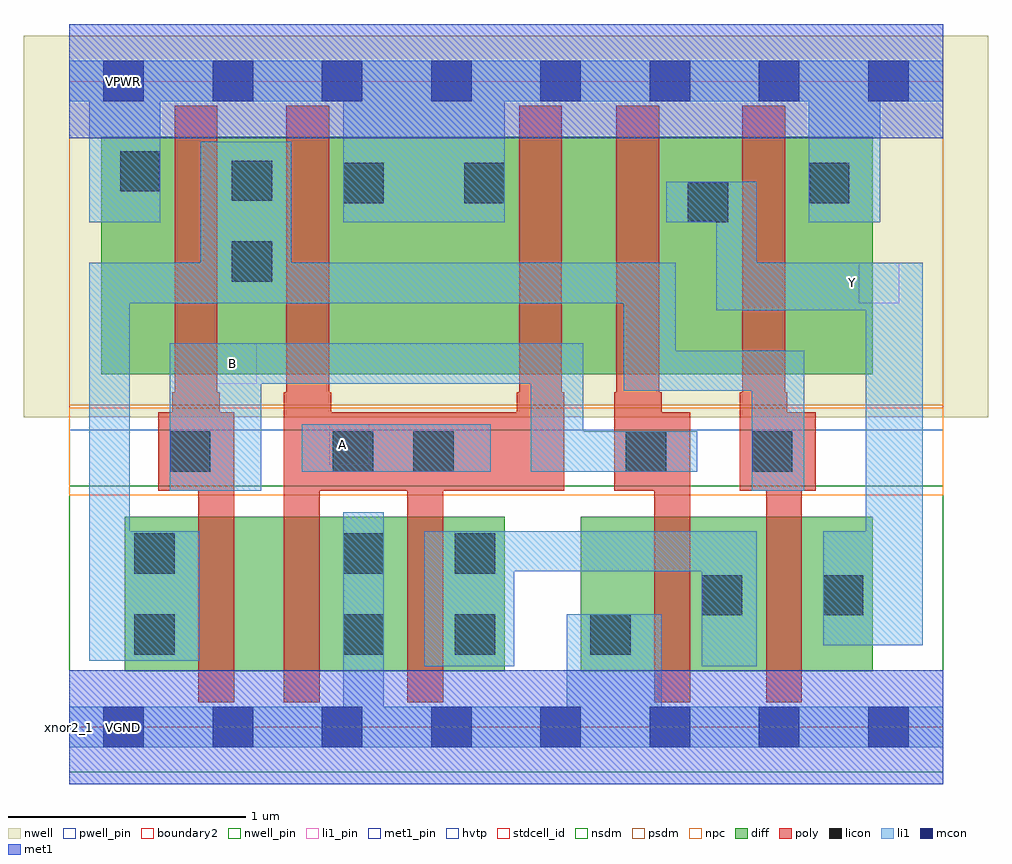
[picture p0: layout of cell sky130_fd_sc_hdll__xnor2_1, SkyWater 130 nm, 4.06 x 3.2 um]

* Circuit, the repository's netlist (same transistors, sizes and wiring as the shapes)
* Copyright 2020 The SkyWater PDK Authors
*
* Licensed under the Apache License, Version 2.0 (the "License");
* you may not use this file except in compliance with the License.
* You may obtain a copy of the License at
*
*     https://www.apache.org/licenses/LICENSE-2.0
*
* Unless required by applicable law or agreed to in writing, software
* distributed under the License is distributed on an "AS IS" BASIS,
* WITHOUT WARRANTIES OR CONDITIONS OF ANY KIND, either express or implied.
* See the License for the specific language governing permissions and
* limitations under the License.
*
* SPDX-License-Identifier: Apache-2.0

.SUBCKT sky130_fd_sc_hdll__xnor2_1 A B VGND VNB VPB VPWR Y
*.PININFO A:I B:I VGND:I VNB:I VPB:I VPWR:I Y:O
MMNnand0 VGND A sndNA VNB sky130_fd_pr__nfet_01v8 m=1 w=0.65U l=0.15U mult=1 sa=0.265
+ sb=0.265 sd=0.28 area=0.063 perim=1.14
MMNnand1 sndNA B inand VNB sky130_fd_pr__nfet_01v8 m=1 w=0.65U l=0.15U mult=1 sa=0.265
+ sb=0.265 sd=0.28 area=0.063 perim=1.14
MMNaoi10 nmid A VGND VNB sky130_fd_pr__nfet_01v8 m=1 w=0.65U l=0.15U mult=1 sa=0.265
+ sb=0.265 sd=0.28 area=0.063 perim=1.14
MMNaoi11 nmid B VGND VNB sky130_fd_pr__nfet_01v8 m=1 w=0.65U l=0.15U mult=1 sa=0.265
+ sb=0.265 sd=0.28 area=0.063 perim=1.14
MMNaoi20 Y inand nmid VNB sky130_fd_pr__nfet_01v8 m=1 w=0.65U l=0.15U mult=1 sa=0.265
+ sb=0.265 sd=0.28 area=0.063 perim=1.14
MMPnand0 inand A VPWR VPB sky130_fd_pr__pfet_01v8_hvt m=1 w=1.0U l=0.18U mult=1
+ sa=0.265 sb=0.265 sd=0.28 area=0.063 perim=1.14
MMPnand1 inand B VPWR VPB sky130_fd_pr__pfet_01v8_hvt m=1 w=1.0U l=0.18U mult=1
+ sa=0.265 sb=0.265 sd=0.28 area=0.063 perim=1.14
MMPaoi10 VPWR A sndPA VPB sky130_fd_pr__pfet_01v8_hvt m=1 w=1.0U l=0.18U mult=1
+ sa=0.265 sb=0.265 sd=0.28 area=0.063 perim=1.14
MMPaoi11 sndPA B Y VPB sky130_fd_pr__pfet_01v8_hvt m=1 w=1.0U l=0.18U mult=1 sa=0.265
+ sb=0.265 sd=0.28 area=0.063 perim=1.14
MMPaoi20 Y inand VPWR VPB sky130_fd_pr__pfet_01v8_hvt m=1 w=1.0U l=0.18U mult=1
+ sa=0.265 sb=0.265 sd=0.28 area=0.063 perim=1.14
.ENDS sky130_fd_sc_hdll__xnor2_1

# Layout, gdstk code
import gdstk
lib = gdstk.Library(unit=1e-6, precision=1e-09)
def R(c, l, rs):  # rectangles x0, y0, x1, y1
    for r in rs: c.add(gdstk.rectangle(r[:2], r[2:], *l))
def A(c, l, x, y, w, h, nx, ny, dx, dy):  # array of equal rectangles
    R(c, l, [(x+i*dx, y+j*dy, x+i*dx+w, y+j*dy+h) for i in range(nx) for j in range(ny)])
def P(c, l, *ps):  # polygons
    for p in ps: c.add(gdstk.Polygon(p, *l))
nwell_pin = (64, 16)
nwell = (64, 20)
diff = (65, 20)
poly = (66, 20)
licon = (66, 44)
li1_pin = (67, 16)
li1 = (67, 20)
mcon = (67, 44)
met1_pin = (68, 16)
met1 = (68, 20)
hvtp = (78, 44)
stdcell_id = (81, 4)
nsdm = (93, 44)
psdm = (94, 20)
npc = (95, 20)
pwell_pin = (122, 16)
boundary2 = (236, 0)

sky130_fd_sc_hdll__xnor2 = lib.new_cell('sky130_fd_sc_hdll__xnor2_1')
R(sky130_fd_sc_hdll__xnor2, nwell_pin, [(0.145,2.635,0.315,2.805)])
R(sky130_fd_sc_hdll__xnor2, nwell, [(-0.19,1.305,3.87,2.91)])
R(sky130_fd_sc_hdll__xnor2, diff, [(0.235,0.235,1.835,0.885), (2.155,0.235,3.385,0.885), (0.135,1.485,3.385,2.485)])
P(sky130_fd_sc_hdll__xnor2, poly, [(0.695,1.325),(0.635,1.325),(0.635,1.41),(0.625,1.41),(0.625,2.615),(0.445,2.615),(0.445,1.41),(0.435,1.41),(0.435,1.325),(0.375,1.325),(0.375,0.995),(0.545,0.995),(0.545,0.105),(0.695,0.105)],
  [(2.085,1.41),(2.075,1.41),(2.075,2.615),(1.895,2.615),(1.895,1.41),(1.885,1.41),(1.885,1.325),(1.105,1.325),(1.105,1.41),(1.095,1.41),(1.095,2.615),(0.915,2.615),(0.915,1.41),(0.905,1.41),(0.905,0.105),(1.055,0.105),(1.055,0.995),(1.425,0.995),(1.425,0.105),(1.575,0.105),(1.575,0.995),(2.085,0.995)],
  [(2.615,1.325),(2.495,1.325),(2.495,1.41),(2.485,1.41),(2.485,2.615),(2.305,2.615),(2.305,1.41),(2.295,1.41),(2.295,0.995),(2.465,0.995),(2.465,0.105),(2.615,0.105)],
  [(3.145,1.325),(3.025,1.325),(3.025,1.41),(3.015,1.41),(3.015,2.615),(2.835,2.615),(2.835,1.41),(2.825,1.41),(2.825,0.995),(2.935,0.995),(2.935,0.105),(3.085,0.105),(3.085,0.995),(3.145,0.995)])
R(sky130_fd_sc_hdll__xnor2, licon, [(0.275,0.305,0.445,0.475), (1.155,0.305,1.325,0.475), (1.625,0.305,1.795,0.475), (2.195,0.305,2.365,0.475), (2.665,0.47,2.835,0.64), (3.175,0.47,3.345,0.64), (0.275,0.645,0.445,0.815), (1.155,0.645,1.325,0.815), (1.625,0.645,1.795,0.815), (0.425,1.075,0.595,1.245), (1.11,1.075,1.28,1.245), (1.45,1.075,1.62,1.245), (2.345,1.075,2.515,1.245), (2.875,1.075,3.045,1.245), (0.685,1.875,0.855,2.045), (2.605,2.125,2.775,2.295), (1.155,2.205,1.325,2.375), (1.665,2.205,1.835,2.375), (3.115,2.205,3.285,2.375), (0.685,2.215,0.855,2.385), (0.215,2.255,0.385,2.425)])
R(sky130_fd_sc_hdll__xnor2, li1_pin, [(1.095,1.105,1.265,1.275), (0.62,1.445,0.79,1.615), (3.325,1.785,3.495,1.955)])
R(sky130_fd_sc_hdll__xnor2, li1, [(0.98,1.075,1.775,1.275)])
P(sky130_fd_sc_hdll__xnor2, li1, [(3.595,1.955),(2.895,1.955),(2.895,2.295),(2.515,2.295),(2.515,2.125),(2.725,2.125),(2.725,1.755),(3.355,1.755),(3.355,0.825),(3.175,0.825),(3.175,0.345),(3.595,0.345)],
  [(3.095,1.585),(2.555,1.585),(2.555,1.955),(0.935,1.955),(0.935,2.465),(0.555,2.465),(0.555,1.955),(0.085,1.955),(0.085,0.28),(0.55,0.28),(0.55,0.825),(0.255,0.825),(0.255,1.785),(2.335,1.785),(2.335,1.415),(2.875,1.415),(2.875,0.995),(3.095,0.995)],
  [(2.895,0.825),(1.495,0.825),(1.495,0.255),(1.875,0.255),(1.875,0.655),(2.665,0.655),(2.665,0.255),(2.895,0.255)],
  [(2.645,1.245),(2.165,1.245),(2.165,1.615),(0.425,1.615),(0.425,0.995),(0.81,0.995),(0.81,1.445),(1.945,1.445),(1.945,1.075),(2.645,1.075)],
  [(3.68,2.805),(0,2.805),(0,2.635),(0.085,2.635),(0.085,2.125),(0.385,2.125),(0.385,2.635),(1.155,2.635),(1.155,2.125),(1.835,2.125),(1.835,2.635),(3.115,2.635),(3.115,2.125),(3.415,2.125),(3.415,2.635),(3.68,2.635)],
  [(3.68,0.085),(2.495,0.085),(2.495,0.475),(2.095,0.475),(2.095,0.085),(1.325,0.085),(1.325,0.905),(1.155,0.905),(1.155,0.085),(0,0.085),(0,-0.085),(3.68,-0.085)])
A(sky130_fd_sc_hdll__xnor2, mcon, 0.145, -0.085, 0.17, 0.17, 8, 2, 0.46, 2.72)
R(sky130_fd_sc_hdll__xnor2, met1_pin, [(0.145,-0.085,0.315,0.085), (0.145,2.635,0.315,2.805)])
R(sky130_fd_sc_hdll__xnor2, met1, [(0,-0.24,3.68,0.24), (0,2.48,3.68,2.96)])
R(sky130_fd_sc_hdll__xnor2, hvtp, [(0,1.25,3.68,2.72)])
R(sky130_fd_sc_hdll__xnor2, stdcell_id, [(0,0,3.68,2.72)])
R(sky130_fd_sc_hdll__xnor2, nsdm, [(0,-0.19,3.68,1.015)])
R(sky130_fd_sc_hdll__xnor2, psdm, [(0,1.355,3.68,2.91)])
R(sky130_fd_sc_hdll__xnor2, npc, [(0,0.975,3.68,1.345)])
R(sky130_fd_sc_hdll__xnor2, pwell_pin, [(0.145,-0.085,0.315,0.085)])
R(sky130_fd_sc_hdll__xnor2, boundary2, [(0,0,3.68,2.72)])
sky130_fd_sc_hdll__xnor2.add(gdstk.Label('VGND', (0.23,0), layer=68, texttype=5))
sky130_fd_sc_hdll__xnor2.add(gdstk.Label('VPWR', (0.23,2.72), layer=68, texttype=5))
sky130_fd_sc_hdll__xnor2.add(gdstk.Label('B', (0.69,1.53), layer=67, texttype=5))
sky130_fd_sc_hdll__xnor2.add(gdstk.Label('Y', (3.3,1.87), layer=67, texttype=5))
sky130_fd_sc_hdll__xnor2.add(gdstk.Label('A', (1.15,1.19), layer=67, texttype=5))
sky130_fd_sc_hdll__xnor2.add(gdstk.Label('VPB', (0.23,2.72), layer=64, texttype=5))
sky130_fd_sc_hdll__xnor2.add(gdstk.Label('VNB', (0.23,0), layer=64, texttype=59))
sky130_fd_sc_hdll__xnor2.add(gdstk.Label('xnor2_1', (0,0), layer=83, texttype=44))

lib.write_gds('sky130_fd_sc_hdll__xnor2_1.gds')
